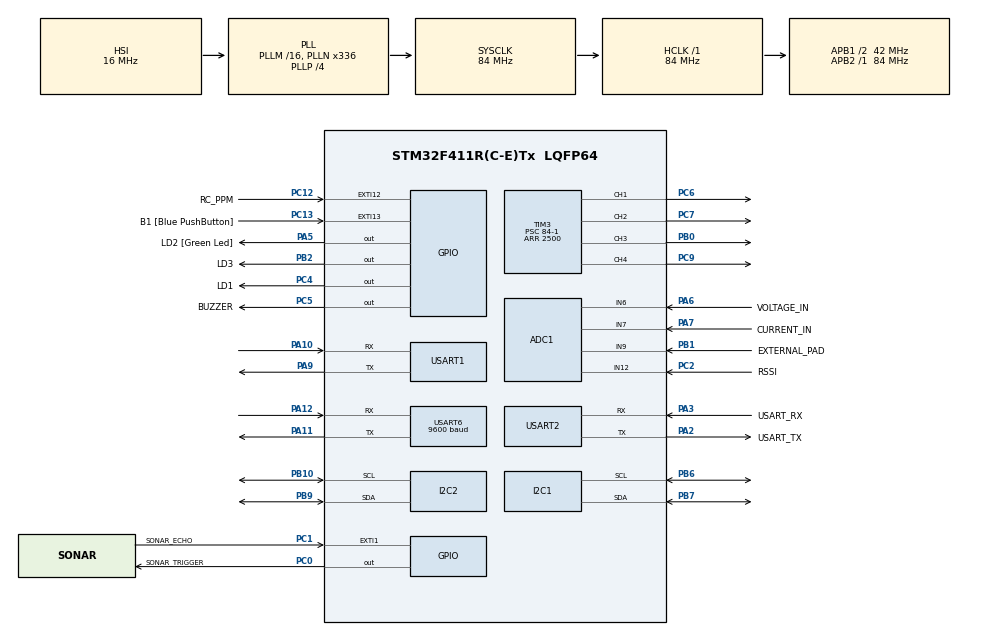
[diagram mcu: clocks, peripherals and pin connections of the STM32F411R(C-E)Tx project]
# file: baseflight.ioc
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ADC1.Channel-11\#ChannelRegularConversion=ADC_CHANNEL_6
ADC1.Channel-12\#ChannelRegularConversion=ADC_CHANNEL_9
ADC1.Channel-13\#ChannelRegularConversion=ADC_CHANNEL_7
ADC1.Channel-14\#ChannelRegularConversion=ADC_CHANNEL_12
ADC1.ContinuousConvMode=ENABLE
ADC1.DMAContinuousRequests=ENABLE
ADC1.NbrOfConversion=4
ADC1.NbrOfConversionFlag=1
ADC1.Rank-11\#ChannelRegularConversion=1
ADC1.Rank-12\#ChannelRegularConversion=2
ADC1.Rank-13\#ChannelRegularConversion=3
ADC1.Rank-14\#ChannelRegularConversion=4
ADC1.SamplingTime-11\#ChannelRegularConversion=ADC_SAMPLETIME_28CYCLES
ADC1.SamplingTime-12\#ChannelRegularConversion=ADC_SAMPLETIME_28CYCLES
ADC1.SamplingTime-13\#ChannelRegularConversion=ADC_SAMPLETIME_28CYCLES
ADC1.SamplingTime-14\#ChannelRegularConversion=ADC_SAMPLETIME_28CYCLES
ADC1.master=1
Dma.ADC1.0.Direction=DMA_PERIPH_TO_MEMORY
Dma.ADC1.0.FIFOMode=DMA_FIFOMODE_DISABLE
Dma.ADC1.0.Instance=DMA2_Stream0
Dma.ADC1.0.MemDataAlignment=DMA_MDATAALIGN_WORD
Dma.ADC1.0.MemInc=DMA_MINC_ENABLE
Dma.ADC1.0.Mode=DMA_CIRCULAR
Dma.ADC1.0.PeriphDataAlignment=DMA_PDATAALIGN_WORD
Dma.ADC1.0.PeriphInc=DMA_PINC_DISABLE
Dma.ADC1.0.Priority=DMA_PRIORITY_LOW
Dma.I2C1_RX.1.Direction=DMA_PERIPH_TO_MEMORY
Dma.I2C1_RX.1.FIFOMode=DMA_FIFOMODE_DISABLE
Dma.I2C1_RX.1.Instance=DMA1_Stream0
Dma.I2C1_RX.1.MemDataAlignment=DMA_MDATAALIGN_BYTE
Dma.I2C1_RX.1.MemInc=DMA_MINC_ENABLE
Dma.I2C1_RX.1.Mode=DMA_NORMAL
Dma.I2C1_RX.1.PeriphDataAlignment=DMA_PDATAALIGN_BYTE
Dma.I2C1_RX.1.PeriphInc=DMA_PINC_DISABLE
Dma.I2C1_RX.1.Priority=DMA_PRIORITY_LOW
Dma.I2C1_TX.2.Direction=DMA_MEMORY_TO_PERIPH
Dma.I2C1_TX.2.FIFOMode=DMA_FIFOMODE_DISABLE
Dma.I2C1_TX.2.Instance=DMA1_Stream1
Dma.I2C1_TX.2.MemDataAlignment=DMA_MDATAALIGN_BYTE
Dma.I2C1_TX.2.MemInc=DMA_MINC_ENABLE
Dma.I2C1_TX.2.Mode=DMA_NORMAL
Dma.I2C1_TX.2.PeriphDataAlignment=DMA_PDATAALIGN_BYTE
Dma.I2C1_TX.2.PeriphInc=DMA_PINC_DISABLE
Dma.I2C1_TX.2.Priority=DMA_PRIORITY_LOW
Dma.Request0=ADC1
Dma.Request1=I2C1_RX
Dma.Request2=I2C1_TX
I2C1.I2C_Mode=I2C_Fast
Mcu.Family=STM32F4
Mcu.Name=STM32F411R(C-E)Tx
Mcu.Package=LQFP64
NVIC.DMA1_Stream0_IRQn=true\:0\:0\:false\:false\:true\:false\:true\:true
NVIC.DMA1_Stream1_IRQn=true\:0\:0\:false\:false\:true\:false\:true\:true
NVIC.DMA2_Stream0_IRQn=true\:0\:0\:false\:false\:true\:false\:true\:true
NVIC.EXTI15_10_IRQn=true\:0\:0\:false\:false\:true\:true\:true\:true
NVIC.EXTI1_IRQn=true\:0\:0\:false\:false\:true\:true\:true\:true
NVIC.I2C1_ER_IRQn=true\:0\:0\:false\:false\:true\:true\:true\:true
NVIC.I2C1_EV_IRQn=true\:0\:0\:false\:false\:true\:true\:true\:true
NVIC.PriorityGroup=NVIC_PRIORITYGROUP_0
NVIC.TIM3_IRQn=true\:0\:0\:false\:false\:true\:true\:true\:true
NVIC.USART1_IRQn=true\:0\:0\:false\:false\:true\:true\:true\:true
NVIC.USART2_IRQn=true\:0\:0\:false\:false\:true\:true\:true\:true
NVIC.USART6_IRQn=true\:0\:0\:false\:false\:true\:true\:true\:true
PA10.Mode=Asynchronous
PA10.Signal=USART1_RX
PA11.Mode=Asynchronous
PA11.Signal=USART6_TX
PA12.Mode=Asynchronous
PA12.Signal=USART6_RX
PA13.GPIO_Label=TMS
PA13.Mode=Serial_Wire
PA13.Signal=SYS_JTMS-SWDIO
PA14.GPIO_Label=TCK
PA14.Mode=Serial_Wire
PA14.Signal=SYS_JTCK-SWCLK
PA2.GPIO_Label=USART_TX
PA2.Mode=Asynchronous
PA2.Signal=USART2_TX
PA3.GPIO_Label=USART_RX
PA3.Mode=Asynchronous
PA3.Signal=USART2_RX
PA5.GPIO_Label=LD2 [Green Led]
PA5.Signal=GPIO_Output
PA6.GPIO_Label=VOLTAGE_IN
PA6.Signal=ADCx_IN6
PA7.GPIO_Label=CURRENT_IN
PA7.Signal=ADCx_IN7
PA9.Mode=Asynchronous
PA9.Signal=USART1_TX
PB0.Signal=S_TIM3_CH3
PB1.GPIO_Label=EXTERNAL_PAD
PB1.Signal=ADCx_IN9
PB10.Mode=I2C
PB10.Signal=I2C2_SCL
PB2.GPIO_Label=LD3
PB2.Signal=GPIO_Output
PB3.GPIO_Label=SWO
PB3.Signal=SYS_JTDO-SWO
PB6.Mode=I2C
PB6.Signal=I2C1_SCL
PB7.Mode=I2C
PB7.Signal=I2C1_SDA
PB9.Mode=I2C
PB9.Signal=I2C2_SDA
PC0.GPIO_Label=SONAR_TRIGGER
PC0.Signal=GPIO_Output
PC1.GPIO_Label=SONAR_ECHO
PC1.GPIO_ModeDefaultEXTI=GPIO_MODE_IT_RISING_FALLING
PC1.Signal=GPXTI1
PC12.GPIO_Label=RC_PPM
PC12.Signal=GPXTI12
PC13-ANTI_TAMP.GPIO_Label=B1 [Blue PushButton]
PC13-ANTI_TAMP.GPIO_ModeDefaultEXTI=GPIO_MODE_IT_FALLING
PC13-ANTI_TAMP.Signal=GPXTI13
PC14-OSC32_IN.Mode=LSE-External-Oscillator
PC14-OSC32_IN.Signal=RCC_OSC32_IN
PC15-OSC32_OUT.Mode=LSE-External-Oscillator
PC15-OSC32_OUT.Signal=RCC_OSC32_OUT
PC2.GPIO_Label=RSSI
PC2.Signal=ADCx_IN12
PC4.GPIO_Label=LD1
PC4.Signal=GPIO_Output
PC5.GPIO_Label=BUZZER
PC5.Signal=GPIO_Output
PC6.Signal=S_TIM3_CH1
PC7.Signal=S_TIM3_CH2
PC9.Signal=S_TIM3_CH4
PH0\ -\ OSC_IN.Mode=HSE-External-Clock-Source
PH0\ -\ OSC_IN.Signal=RCC_OSC_IN
PH1\ -\ OSC_OUT.Mode=HSE-External-Clock-Source
PH1\ -\ OSC_OUT.Signal=RCC_OSC_OUT
ProjectManager.HeapSize=0x200
ProjectManager.StackSize=0x400
ProjectManager.TargetToolchain=STM32CubeIDE
RCC.48MHZClocksFreq_Value=84000000
RCC.AHBFreq_Value=84000000
RCC.APB1CLKDivider=RCC_HCLK_DIV2
RCC.APB1Freq_Value=42000000
RCC.APB1TimFreq_Value=84000000
RCC.APB2Freq_Value=84000000
RCC.APB2TimFreq_Value=84000000
RCC.CortexFreq_Value=84000000
RCC.FLatency-AdvancedSettings=FLASH_LATENCY_2
RCC.HCLKFreq_Value=84000000
RCC.HSE_VALUE=8000000
RCC.HSICalibrationValue=13
RCC.HSI_VALUE=16000000
RCC.PLLN=336
RCC.PLLP=RCC_PLLP_DIV4
RCC.SYSCLKFreq_VALUE=84000000
RCC.SYSCLKSource=RCC_SYSCLKSOURCE_PLLCLK
RCC.VCOOutputFreq_Value=336000000
SH.ADCx_IN12.0=ADC1_IN12,IN12
SH.ADCx_IN6.0=ADC1_IN6,IN6
SH.ADCx_IN7.0=ADC1_IN7,IN7
SH.ADCx_IN9.0=ADC1_IN9,IN9
SH.S_TIM3_CH1.0=TIM3_CH1,PWM Generation1 CH1
SH.S_TIM3_CH2.0=TIM3_CH2,PWM Generation2 CH2
SH.S_TIM3_CH3.0=TIM3_CH3,PWM Generation3 CH3
SH.S_TIM3_CH4.0=TIM3_CH4,PWM Generation4 CH4
TIM2.Prescaler=84-1
TIM3.Channel-PWM\ Generation1\ CH1=TIM_CHANNEL_1
TIM3.Channel-PWM\ Generation2\ CH2=TIM_CHANNEL_2
TIM3.Channel-PWM\ Generation3\ CH3=TIM_CHANNEL_3
TIM3.Channel-PWM\ Generation4\ CH4=TIM_CHANNEL_4
TIM3.Period=2500
TIM3.Prescaler=84-1
TIM3.Pulse-PWM\ Generation1\ CH1=1000
TIM3.Pulse-PWM\ Generation2\ CH2=1000
TIM3.Pulse-PWM\ Generation4\ CH4=1000
USART1.VirtualMode=VM_ASYNC
USART2.VirtualMode=VM_ASYNC
USART6.BaudRate=9600
USART6.VirtualMode=VM_ASYNC
VP_TIM2_VS_ClockSourceINT.Mode=Internal
VP_TIM3_VS_ClockSourceINT.Mode=Internal
board=NUCLEO-F411RE

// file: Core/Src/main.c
/* USER CODE BEGIN Header */
/**
  ******************************************************************************
  * @file           : main.c
  * @brief          : Main program body
  ******************************************************************************
  * @attention
  *
  * Copyright (c) 2022 STMicroelectronics.
  * All rights reserved.
  *
  * This software is licensed under terms that can be found in the LICENSE file
  * in the root directory of this software component.
  * If no LICENSE file comes with this software, it is provided AS-IS.
  *
  ******************************************************************************
  */
/* USER CODE END Header */
#include "main.h"

/* USER CODE BEGIN Includes */
#include "board.h"
#include "buzzer.h"
#include "mw.h"

#include "drv_adc.h"
#include "drv_gy86.h"
#include "drv_hcsr04.h"
#include "drv_i2c.h"
#include "drv_pwm.h"
#include "drv_system.h"
#include "drv_uart.h"

#ifndef __PIF_NO_LOG__
	#include "core/pif_log.h"
#endif
/* USER CODE END Includes */

ADC_HandleTypeDef hadc1;
DMA_HandleTypeDef hdma_adc1;

I2C_HandleTypeDef hi2c1;
I2C_HandleTypeDef hi2c2;
DMA_HandleTypeDef hdma_i2c1_rx;
DMA_HandleTypeDef hdma_i2c1_tx;

TIM_HandleTypeDef htim2;
TIM_HandleTypeDef htim3;

UART_HandleTypeDef huart1;
UART_HandleTypeDef huart2;
UART_HandleTypeDef huart6;

/* USER CODE BEGIN PV */
const char g_board_name[] = "Nucleo-F411RE";

core_t core;
int hw_revision = 0;

static sensorDetect_t gyro_detect[] = { { (sensorDetectFuncPtr)gy86Detect, NULL }, { NULL, NULL } };
static sensorDetect_t* acc_detect = NULL;
static sensorDetect_t* baro_detect = NULL;
static sensorDetect_t* mag_detect = NULL;
/* USER CODE END PV */

void SystemClock_Config(void);
static void MX_GPIO_Init(void);
static void MX_DMA_Init(void);
static void MX_USART2_UART_Init(void);
static void MX_I2C1_Init(void);
static void MX_TIM3_Init(void);
static void MX_USART1_UART_Init(void);
static void MX_USART6_UART_Init(void);
static void MX_ADC1_Init(void);
static void MX_TIM2_Init(void);
static void MX_I2C2_Init(void);

/* USER CODE BEGIN 0 */
uint32_t micros()
{
	return htim2.Instance->CNT;
}

static void featureDefault(void)
{
    featureSet(FEATURE_VBAT);
}

#ifndef __PIF_NO_LOG__

void actTaskSignal(BOOL state)
{
	HAL_GPIO_WritePin(LD2_GPIO_Port, LD2_Pin, state);
}

#endif

/* USER CODE END 0 */

int main(void)
{
  /* USER CODE BEGIN 1 */
    uint8_t i;
#ifndef __PIF_NO_LOG__
    int line;
	#define FAIL { line = __LINE__; goto fail; }
#else
	#define FAIL { goto fail; }
#endif
    drv_pwm_config_t pwm_params;
    drv_adc_config_t adc_params;
    bool sensorsOK = false;
    PifTask* p_task;
  /* USER CODE END 1 */

  /* MCU Configuration--------------------------------------------------------*/

  /* Reset of all peripherals, Initializes the Flash interface and the Systick. */
  HAL_Init();

  /* Configure the system clock */
  SystemClock_Config();

  /* Initialize all configured peripherals */
  MX_GPIO_Init();
  MX_DMA_Init();
  MX_USART2_UART_Init();
  MX_I2C1_Init();
  MX_TIM3_Init();
  MX_USART1_UART_Init();
  MX_USART6_UART_Init();
  MX_ADC1_Init();
  MX_TIM2_Init();
  MX_I2C2_Init();
  /* USER CODE BEGIN 2 */

  HAL_TIM_IC_Start_IT(&htim2, TIM_CHANNEL_1);

    pif_Init(micros);

    if (!pifTaskManager_Init(20)) FAIL;

#ifdef __PIF_DEBUG__
    pif_act_task_signal = actTaskSignal;
#endif

#ifndef __PIF_NO_LOG__
    logOpen();
#endif

    if (!pifTimerManager_Init(&g_timer_1ms, PIF_ID_AUTO, 1000, 3)) FAIL;		        // 1000us

#ifndef __PIF_NO_LOG__
    pifLog_Printf(LT_INFO, "Start Baseflight: %d\n", sizeof(master_t));
#endif

    if (!buzzerInit()) FAIL;

    // make sure (at compile time) that config struct doesn't overflow allocated flash pages
    ct_assert(sizeof(mcfg) < STORAGE_VOLUME);

    g_featureDefault = featureDefault;

    if (!i2cInit()) FAIL;

    if (!initEEPROM(storageInit())) FAIL;
    if (!checkFirstTime(false)) FAIL;
    readEEPROM();

    systemInit();

    // sleep for 100ms
    pif_Delay1ms(100);

    activateConfig();

    // configure rssi ADC
    if (mcfg.rssi_adc_channel > 0 && (mcfg.rssi_adc_channel == 1 || mcfg.rssi_adc_channel == 9 || mcfg.rssi_adc_channel == 5) && mcfg.rssi_adc_channel != mcfg.power_adc_channel)
        adc_params.rssiAdcChannel = mcfg.rssi_adc_channel;
    else {
        adc_params.rssiAdcChannel = 0;
        mcfg.rssi_adc_channel = 0;
    }

    adcInit(&adc_params);
    // Check battery type/voltage
    if (feature(FEATURE_VBAT))
        batteryInit();
    initBoardAlignment();

    // drop out any sensors that don't seem to work, init all the others. halt if gyro is dead.
    sensorsOK = sensorsAutodetect(gyro_detect, acc_detect, baro_detect, mag_detect);
#ifndef __PIF_NO_LOG__
    pifLog_Printf(LT_INFO, "Sensor: %lxh(%d)", sensorsMask(), sensorsOK);
#endif

    // if gyro was not detected due to whatever reason, we give up now.
    if (!sensorsOK)
        failureMode(3);

    actLed1State(ON);
    actLed0State(OFF);
    for (i = 0; i < 10; i++) {
        actLed1Toggle();
        actLed0Toggle();
        pifTaskManager_YieldMs(25);
        actBuzzerAction(PIF_ID_BUZZER, ON);
        pifTaskManager_YieldMs(25);
        actBuzzerAction(PIF_ID_BUZZER, OFF);
    }
    actLed0State(OFF);
    actLed1State(OFF);

    imuInit(); // Mag is initialized inside imuInit
    mixerInit(); // this will set core.useServo var depending on mixer type

#ifndef __PIF_NO_LOG__
    pifLog_Printf(LT_INFO, "Serial: %lu", mcfg.serial_baudrate);
    serialInit(UART_PORT_1, mcfg.serial_baudrate, UART_PORT_NONE);
#else
    serialInit(UART_PORT_1, mcfg.serial_baudrate, feature(FEATURE_SERIALRX) ? UART_PORT_NONE : UART_PORT_2);
#endif

    g_task_compute_rc = pifTaskManager_Add(TM_EXTERNAL_ORDER, 0, taskComputeRc, NULL, FALSE);
    if (!g_task_compute_rc) FAIL;
    g_task_compute_rc->name = "RC";

    // when using airplane/wing mixer, servo/motor outputs are remapped
    if (mcfg.mixerConfiguration == MULTITYPE_AIRPLANE || mcfg.mixerConfiguration == MULTITYPE_FLYING_WING || mcfg.mixerConfiguration == MULTITYPE_CUSTOM_PLANE)
        pwm_params.airplane = true;
    else
        pwm_params.airplane = false;
    pwm_params.useUART = feature(FEATURE_GPS) || feature(FEATURE_SERIALRX); // spektrum/sbus support uses UART too
    pwm_params.useSoftSerial = false;
    pwm_params.usePPM = feature(FEATURE_PPM);
    pwm_params.enableInput = !feature(FEATURE_SERIALRX); // disable inputs if using spektrum
    pwm_params.useServos = core.useServo;
    pwm_params.extraServos = cfg.gimbal_flags & GIMBAL_FORWARDAUX;
    pwm_params.motorPwmRate = mcfg.motor_pwm_rate;
    pwm_params.servoPwmRate = mcfg.servo_pwm_rate;
    pwm_params.pwmFilter = mcfg.pwm_filter;
    pwm_params.idlePulse = PULSE_1MS; // standard PWM for brushless ESC (default, overridden below)
    if (feature(FEATURE_3D))
        pwm_params.idlePulse = mcfg.neutral3d;
    if (pwm_params.motorPwmRate > 500)
        pwm_params.idlePulse = 0; // brushed motors
    pwm_params.syncPWM = feature(FEATURE_SYNCPWM);
    pwm_params.fastPWM = feature(FEATURE_FASTPWM);
    pwm_params.servoCenterPulse = mcfg.midrc;
    pwm_params.failsafeThreshold = cfg.failsafe_detect_threshold;
    switch (mcfg.power_adc_channel) {
        case 1:
            pwm_params.adcChannel = PWM2;
            break;
        case 9:
            pwm_params.adcChannel = PWM8;
            break;
        default:
            pwm_params.adcChannel = 0;
            break;
    }

    pwmInit(&pwm_params);
    core.numServos = pwm_params.numServos;

    // configure PWM/CPPM read function and max number of channels. spektrum or sbus below will override both of these, if enabled
    for (i = 0; i < RC_CHANS; i++)
        rcData[i] = 1502;
    rcReadRawFunc = pwmReadRawRC;

#ifdef __PIF_NO_LOG__
    if (feature(FEATURE_SERIALRX)) {
        switch (mcfg.serialrx_type) {
            case SERIALRX_SPEKTRUM1024:
            case SERIALRX_SPEKTRUM2048:
                spektrumInit(UART_PORT_2, &rcReadRawFunc);
                break;
            case SERIALRX_SBUS:
                // Configure hardware inverter on PB2. If not available, this has no effect.
                actInvState(ON);
                sbusInit(UART_PORT_2, &rcReadRawFunc);
                break;
            case SERIALRX_SUMD:
                sumdInit(UART_PORT_2, &rcReadRawFunc);
                break;
            case SERIALRX_MSP:
                mspInit(&rcReadRawFunc);
                break;
            case SERIALRX_IBUS:
                ibusInit(UART_PORT_2, &rcReadRawFunc);
                break;
        }
    }
#endif

    // Optional GPS - available in both PPM, PWM and serialRX input mode, in PWM input, reduces number of available channels by 2.
    // gpsInit will return if FEATURE_GPS is not enabled.
    if (feature(FEATURE_GPS)) {
        gpsInit(UART_PORT_3, mcfg.gps_baudrate);
    }

#ifdef SONAR
    // sonar stuff only works with PPM
    if (feature(FEATURE_SONAR)) {
//      Sonar_init(hcsr04Init, SF_NONE);
//      Sonar_init(hcsr04Init, SF_AVERAGE);
        Sonar_init(hcsr04Init, SF_NOISE_CANCEL);
    }
#endif

    core.numAuxChannels = constrain((mcfg.rc_channel_count - 4), 4, 8);

#ifdef TELEMETRY
    if (feature(FEATURE_TELEMETRY))
        initTelemetry();
#endif

    if (mcfg.mixerConfiguration == MULTITYPE_GIMBAL)
        calibratingA = CALIBRATING_ACC_CYCLES;
    calibratingG = CALIBRATING_GYRO_CYCLES;
    calibratingB = CALIBRATING_BARO_CYCLES;             // 10 seconds init_delay + 200 * 25 ms = 15 seconds before ground pressure settles
    f.SMALL_ANGLE = 1;

    p_task = pifTaskManager_Add(TM_PERIOD_MS, 10, taskLoop, NULL, TRUE);         								// 1ms
    if (!p_task) FAIL;
    p_task->name = "Loop";

    if (mcfg.looptime) {
    	g_task_compute_imu = pifTaskManager_Add(TM_PERIOD_US, mcfg.looptime, taskComputeImu, NULL, TRUE);
    }
    else {
    	g_task_compute_imu = pifTaskManager_Add(TM_ALWAYS, 0, taskComputeImu, NULL, TRUE);
    }
    if (!g_task_compute_imu) FAIL;
    g_task_compute_imu->name = "IMU";
    g_task_compute_imu->disallow_yield_id = DISALLOW_YIELD_ID_I2C;

#ifdef MAG
    if (sensors(SENSOR_MAG)) {
        sensor_set.mag.p_task = pifTaskManager_Add(TM_PERIOD_MS, 100, taskMagGetAdc, NULL, TRUE);             // 100ms
        if (!sensor_set.mag.p_task) FAIL;
        sensor_set.mag.p_task->name = "Mag";
        sensor_set.mag.p_task->disallow_yield_id = DISALLOW_YIELD_ID_I2C;
    }
#endif

#ifdef BARO
    if (sensors(SENSOR_BARO)) {
        sensor_set.baro.p_task = pifTaskManager_Add(TM_EXTERNAL_ORDER, 0, taskGetEstimatedAltitude, NULL, FALSE);
        if (!sensor_set.baro.p_task) FAIL;
        sensor_set.baro.p_task->name = "Baro";
    }
#endif

#ifdef GPS
    g_task_gps = pifTaskManager_Add(TM_EXTERNAL_ORDER, 0, taskGpsNewData, NULL, FALSE);
    if (!g_task_gps) FAIL;
    g_task_gps->name = "GPS";
#endif

    p_task = pifTaskManager_Add(TM_PERIOD_MS, 50, taskLedState, NULL, TRUE);									// 50ms
    if (!p_task) FAIL;
    p_task->name = "Loop";

#ifndef __PIF_NO_LOG__
	pifLog_Printf(LT_INFO, "Task=%d Timer1ms=%d\n", pifTaskManager_Count(),
			pifTimerManager_Count(&g_timer_1ms));
#endif
  /* USER CODE END 2 */

  /* Infinite loop */
  /* USER CODE BEGIN WHILE */
  while (1)
  {
	  pifTaskManager_Loop();
    /* USER CODE END WHILE */

    /* USER CODE BEGIN 3 */
  }
  return 0;

fail:
#ifndef __PIF_NO_LOG__
	pifLog_Printf(LT_ERROR, "Error=%Xh Line=%u", pif_error, line);
	pifLog_SendAndExit();
#endif
  return -1;
  /* USER CODE END 3 */
}

void SystemClock_Config(void)
{
  RCC_OscInitTypeDef RCC_OscInitStruct = {0};
  RCC_ClkInitTypeDef RCC_ClkInitStruct = {0};

  /** Configure the main internal regulator output voltage
  */
  __HAL_RCC_PWR_CLK_ENABLE();
  __HAL_PWR_VOLTAGESCALING_CONFIG(PWR_REGULATOR_VOLTAGE_SCALE1);

  /** Initializes the RCC Oscillators according to the specified parameters
  * in the RCC_OscInitTypeDef structure.
  */
  RCC_OscInitStruct.OscillatorType = RCC_OSCILLATORTYPE_HSI;
  RCC_OscInitStruct.HSIState = RCC_HSI_ON;
  RCC_OscInitStruct.HSICalibrationValue = 13;
  RCC_OscInitStruct.PLL.PLLState = RCC_PLL_ON;
  RCC_OscInitStruct.PLL.PLLSource = RCC_PLLSOURCE_HSI;
  RCC_OscInitStruct.PLL.PLLM = 16;
  RCC_OscInitStruct.PLL.PLLN = 336;
  RCC_OscInitStruct.PLL.PLLP = RCC_PLLP_DIV4;
  RCC_OscInitStruct.PLL.PLLQ = 4;
  if (HAL_RCC_OscConfig(&RCC_OscInitStruct) != HAL_OK)
  {
    Error_Handler();
  }

  /** Initializes the CPU, AHB and APB buses clocks
  */
  RCC_ClkInitStruct.ClockType = RCC_CLOCKTYPE_HCLK|RCC_CLOCKTYPE_SYSCLK
                              |RCC_CLOCKTYPE_PCLK1|RCC_CLOCKTYPE_PCLK2;
  RCC_ClkInitStruct.SYSCLKSource = RCC_SYSCLKSOURCE_PLLCLK;
  RCC_ClkInitStruct.AHBCLKDivider = RCC_SYSCLK_DIV1;
  RCC_ClkInitStruct.APB1CLKDivider = RCC_HCLK_DIV2;
  RCC_ClkInitStruct.APB2CLKDivider = RCC_HCLK_DIV1;

  if (HAL_RCC_ClockConfig(&RCC_ClkInitStruct, FLASH_LATENCY_2) != HAL_OK)
  {
    Error_Handler();
  }
}

static void MX_ADC1_Init(void)
{

  ADC_ChannelConfTypeDef sConfig = {0};

  /** Configure the global features of the ADC (Clock, Resolution, Data Alignment and number of conversion)
  */
  hadc1.Instance = ADC1;
  hadc1.Init.ClockPrescaler = ADC_CLOCK_SYNC_PCLK_DIV4;
  hadc1.Init.Resolution = ADC_RESOLUTION_12B;
  hadc1.Init.ScanConvMode = ENABLE;
  hadc1.Init.ContinuousConvMode = ENABLE;
  hadc1.Init.DiscontinuousConvMode = DISABLE;
  hadc1.Init.ExternalTrigConvEdge = ADC_EXTERNALTRIGCONVEDGE_NONE;
  hadc1.Init.ExternalTrigConv = ADC_SOFTWARE_START;
  hadc1.Init.DataAlign = ADC_DATAALIGN_RIGHT;
  hadc1.Init.NbrOfConversion = 4;
  hadc1.Init.DMAContinuousRequests = ENABLE;
  hadc1.Init.EOCSelection = ADC_EOC_SINGLE_CONV;
  if (HAL_ADC_Init(&hadc1) != HAL_OK)
  {
    Error_Handler();
  }

  /** Configure for the selected ADC regular channel its corresponding rank in the sequencer and its sample time.
  */
  sConfig.Channel = ADC_CHANNEL_6;
  sConfig.Rank = 1;
  sConfig.SamplingTime = ADC_SAMPLETIME_28CYCLES;
  if (HAL_ADC_ConfigChannel(&hadc1, &sConfig) != HAL_OK)
  {
    Error_Handler();
  }

  /** Configure for the selected ADC regular channel its corresponding rank in the sequencer and its sample time.
  */
  sConfig.Channel = ADC_CHANNEL_9;
  sConfig.Rank = 2;
  if (HAL_ADC_ConfigChannel(&hadc1, &sConfig) != HAL_OK)
  {
    Error_Handler();
  }

  /** Configure for the selected ADC regular channel its corresponding rank in the sequencer and its sample time.
  */
  sConfig.Channel = ADC_CHANNEL_7;
  sConfig.Rank = 3;
  if (HAL_ADC_ConfigChannel(&hadc1, &sConfig) != HAL_OK)
  {
    Error_Handler();
  }

  /** Configure for the selected ADC regular channel its corresponding rank in the sequencer and its sample time.
  */
  sConfig.Channel = ADC_CHANNEL_12;
  sConfig.Rank = 4;
  if (HAL_ADC_ConfigChannel(&hadc1, &sConfig) != HAL_OK)
  {
    Error_Handler();
  }

}

static void MX_I2C1_Init(void)
{

  hi2c1.Instance = I2C1;
  hi2c1.Init.ClockSpeed = 400000;
  hi2c1.Init.DutyCycle = I2C_DUTYCYCLE_2;
  hi2c1.Init.OwnAddress1 = 0;
  hi2c1.Init.AddressingMode = I2C_ADDRESSINGMODE_7BIT;
  hi2c1.Init.DualAddressMode = I2C_DUALADDRESS_DISABLE;
  hi2c1.Init.OwnAddress2 = 0;
  hi2c1.Init.GeneralCallMode = I2C_GENERALCALL_DISABLE;
  hi2c1.Init.NoStretchMode = I2C_NOSTRETCH_DISABLE;
  if (HAL_I2C_Init(&hi2c1) != HAL_OK)
  {
    Error_Handler();
  }

}

static void MX_I2C2_Init(void)
{

  hi2c2.Instance = I2C2;
  hi2c2.Init.ClockSpeed = 100000;
  hi2c2.Init.DutyCycle = I2C_DUTYCYCLE_2;
  hi2c2.Init.OwnAddress1 = 0;
  hi2c2.Init.AddressingMode = I2C_ADDRESSINGMODE_7BIT;
  hi2c2.Init.DualAddressMode = I2C_DUALADDRESS_DISABLE;
  hi2c2.Init.OwnAddress2 = 0;
  hi2c2.Init.GeneralCallMode = I2C_GENERALCALL_DISABLE;
  hi2c2.Init.NoStretchMode = I2C_NOSTRETCH_DISABLE;
  if (HAL_I2C_Init(&hi2c2) != HAL_OK)
  {
    Error_Handler();
  }

}

static void MX_TIM2_Init(void)
{

  TIM_ClockConfigTypeDef sClockSourceConfig = {0};
  TIM_MasterConfigTypeDef sMasterConfig = {0};

  htim2.Instance = TIM2;
  htim2.Init.Prescaler = 84-1;
  htim2.Init.CounterMode = TIM_COUNTERMODE_UP;
  htim2.Init.Period = 4294967295;
  htim2.Init.ClockDivision = TIM_CLOCKDIVISION_DIV1;
  htim2.Init.AutoReloadPreload = TIM_AUTORELOAD_PRELOAD_DISABLE;
  if (HAL_TIM_Base_Init(&htim2) != HAL_OK)
  {
    Error_Handler();
  }
  sClockSourceConfig.ClockSource = TIM_CLOCKSOURCE_INTERNAL;
  if (HAL_TIM_ConfigClockSource(&htim2, &sClockSourceConfig) != HAL_OK)
  {
    Error_Handler();
  }
  sMasterConfig.MasterOutputTrigger = TIM_TRGO_RESET;
  sMasterConfig.MasterSlaveMode = TIM_MASTERSLAVEMODE_DISABLE;
  if (HAL_TIMEx_MasterConfigSynchronization(&htim2, &sMasterConfig) != HAL_OK)
  {
    Error_Handler();
  }

}

static void MX_TIM3_Init(void)
{

  TIM_ClockConfigTypeDef sClockSourceConfig = {0};
  TIM_MasterConfigTypeDef sMasterConfig = {0};
  TIM_OC_InitTypeDef sConfigOC = {0};

  htim3.Instance = TIM3;
  htim3.Init.Prescaler = 84-1;
  htim3.Init.CounterMode = TIM_COUNTERMODE_UP;
  htim3.Init.Period = 2500;
  htim3.Init.ClockDivision = TIM_CLOCKDIVISION_DIV1;
  htim3.Init.AutoReloadPreload = TIM_AUTORELOAD_PRELOAD_DISABLE;
  if (HAL_TIM_Base_Init(&htim3) != HAL_OK)
  {
    Error_Handler();
  }
  sClockSourceConfig.ClockSource = TIM_CLOCKSOURCE_INTERNAL;
  if (HAL_TIM_ConfigClockSource(&htim3, &sClockSourceConfig) != HAL_OK)
  {
    Error_Handler();
  }
  if (HAL_TIM_PWM_Init(&htim3) != HAL_OK)
  {
    Error_Handler();
  }
  sMasterConfig.MasterOutputTrigger = TIM_TRGO_RESET;
  sMasterConfig.MasterSlaveMode = TIM_MASTERSLAVEMODE_DISABLE;
  if (HAL_TIMEx_MasterConfigSynchronization(&htim3, &sMasterConfig) != HAL_OK)
  {
    Error_Handler();
  }
  sConfigOC.OCMode = TIM_OCMODE_PWM1;
  sConfigOC.Pulse = 1000;
  sConfigOC.OCPolarity = TIM_OCPOLARITY_HIGH;
  sConfigOC.OCFastMode = TIM_OCFAST_DISABLE;
  if (HAL_TIM_PWM_ConfigChannel(&htim3, &sConfigOC, TIM_CHANNEL_1) != HAL_OK)
  {
    Error_Handler();
  }
  if (HAL_TIM_PWM_ConfigChannel(&htim3, &sConfigOC, TIM_CHANNEL_2) != HAL_OK)
  {
    Error_Handler();
  }
  sConfigOC.Pulse = 0;
  if (HAL_TIM_PWM_ConfigChannel(&htim3, &sConfigOC, TIM_CHANNEL_3) != HAL_OK)
  {
    Error_Handler();
  }
  sConfigOC.Pulse = 1000;
  if (HAL_TIM_PWM_ConfigChannel(&htim3, &sConfigOC, TIM_CHANNEL_4) != HAL_OK)
  {
    Error_Handler();
  }
  HAL_TIM_MspPostInit(&htim3);

}

static void MX_USART1_UART_Init(void)
{

  huart1.Instance = USART1;
  huart1.Init.BaudRate = 115200;
  huart1.Init.WordLength = UART_WORDLENGTH_8B;
  huart1.Init.StopBits = UART_STOPBITS_1;
  huart1.Init.Parity = UART_PARITY_NONE;
  huart1.Init.Mode = UART_MODE_TX_RX;
  huart1.Init.HwFlowCtl = UART_HWCONTROL_NONE;
  huart1.Init.OverSampling = UART_OVERSAMPLING_16;
  if (HAL_UART_Init(&huart1) != HAL_OK)
  {
    Error_Handler();
  }

}

static void MX_USART2_UART_Init(void)
{

  huart2.Instance = USART2;
  huart2.Init.BaudRate = 115200;
  huart2.Init.WordLength = UART_WORDLENGTH_8B;
  huart2.Init.StopBits = UART_STOPBITS_1;
  huart2.Init.Parity = UART_PARITY_NONE;
  huart2.Init.Mode = UART_MODE_TX_RX;
  huart2.Init.HwFlowCtl = UART_HWCONTROL_NONE;
  huart2.Init.OverSampling = UART_OVERSAMPLING_16;
  if (HAL_UART_Init(&huart2) != HAL_OK)
  {
    Error_Handler();
  }

}

static void MX_USART6_UART_Init(void)
{

  huart6.Instance = USART6;
  huart6.Init.BaudRate = 9600;
  huart6.Init.WordLength = UART_WORDLENGTH_8B;
  huart6.Init.StopBits = UART_STOPBITS_1;
  huart6.Init.Parity = UART_PARITY_NONE;
  huart6.Init.Mode = UART_MODE_TX_RX;
  huart6.Init.HwFlowCtl = UART_HWCONTROL_NONE;
  huart6.Init.OverSampling = UART_OVERSAMPLING_16;
  if (HAL_UART_Init(&huart6) != HAL_OK)
  {
    Error_Handler();
  }

}

static void MX_DMA_Init(void)
{

  /* DMA controller clock enable */
  __HAL_RCC_DMA2_CLK_ENABLE();
  __HAL_RCC_DMA1_CLK_ENABLE();

  /* DMA interrupt init */
  /* DMA1_Stream0_IRQn interrupt configuration */
  HAL_NVIC_SetPriority(DMA1_Stream0_IRQn, 0, 0);
  HAL_NVIC_EnableIRQ(DMA1_Stream0_IRQn);
  /* DMA1_Stream1_IRQn interrupt configuration */
  HAL_NVIC_SetPriority(DMA1_Stream1_IRQn, 0, 0);
  HAL_NVIC_EnableIRQ(DMA1_Stream1_IRQn);
  /* DMA2_Stream0_IRQn interrupt configuration */
  HAL_NVIC_SetPriority(DMA2_Stream0_IRQn, 0, 0);
  HAL_NVIC_EnableIRQ(DMA2_Stream0_IRQn);

}

static void MX_GPIO_Init(void)
{
  GPIO_InitTypeDef GPIO_InitStruct = {0};

  /* GPIO Ports Clock Enable */
  __HAL_RCC_GPIOC_CLK_ENABLE();
  __HAL_RCC_GPIOH_CLK_ENABLE();
  __HAL_RCC_GPIOA_CLK_ENABLE();
  __HAL_RCC_GPIOB_CLK_ENABLE();

  /*Configure GPIO pin Output Level */
  HAL_GPIO_WritePin(GPIOC, SONAR_TRIGGER_Pin|LD1_Pin|BUZZER_Pin, GPIO_PIN_RESET);

  /*Configure GPIO pin Output Level */
  HAL_GPIO_WritePin(LD2_GPIO_Port, LD2_Pin, GPIO_PIN_RESET);

  /*Configure GPIO pin Output Level */
  HAL_GPIO_WritePin(LD3_GPIO_Port, LD3_Pin, GPIO_PIN_RESET);

  /*Configure GPIO pin : B1_Pin */
  GPIO_InitStruct.Pin = B1_Pin;
  GPIO_InitStruct.Mode = GPIO_MODE_IT_FALLING;
  GPIO_InitStruct.Pull = GPIO_NOPULL;
  HAL_GPIO_Init(B1_GPIO_Port, &GPIO_InitStruct);

  /*Configure GPIO pins : SONAR_TRIGGER_Pin LD1_Pin BUZZER_Pin */
  GPIO_InitStruct.Pin = SONAR_TRIGGER_Pin|LD1_Pin|BUZZER_Pin;
  GPIO_InitStruct.Mode = GPIO_MODE_OUTPUT_PP;
  GPIO_InitStruct.Pull = GPIO_NOPULL;
  GPIO_InitStruct.Speed = GPIO_SPEED_FREQ_LOW;
  HAL_GPIO_Init(GPIOC, &GPIO_InitStruct);

  /*Configure GPIO pin : SONAR_ECHO_Pin */
  GPIO_InitStruct.Pin = SONAR_ECHO_Pin;
  GPIO_InitStruct.Mode = GPIO_MODE_IT_RISING_FALLING;
  GPIO_InitStruct.Pull = GPIO_NOPULL;
  HAL_GPIO_Init(SONAR_ECHO_GPIO_Port, &GPIO_InitStruct);

  /*Configure GPIO pin : LD2_Pin */
  GPIO_InitStruct.Pin = LD2_Pin;
  GPIO_InitStruct.Mode = GPIO_MODE_OUTPUT_PP;
  GPIO_InitStruct.Pull = GPIO_NOPULL;
  GPIO_InitStruct.Speed = GPIO_SPEED_FREQ_LOW;
  HAL_GPIO_Init(LD2_GPIO_Port, &GPIO_InitStruct);

  /*Configure GPIO pin : LD3_Pin */
  GPIO_InitStruct.Pin = LD3_Pin;
  GPIO_InitStruct.Mode = GPIO_MODE_OUTPUT_PP;
  GPIO_InitStruct.Pull = GPIO_NOPULL;
  GPIO_InitStruct.Speed = GPIO_SPEED_FREQ_LOW;
  HAL_GPIO_Init(LD3_GPIO_Port, &GPIO_InitStruct);

  /*Configure GPIO pin : RC_PPM_Pin */
  GPIO_InitStruct.Pin = RC_PPM_Pin;
  GPIO_InitStruct.Mode = GPIO_MODE_IT_RISING;
  GPIO_InitStruct.Pull = GPIO_NOPULL;
  HAL_GPIO_Init(RC_PPM_GPIO_Port, &GPIO_InitStruct);

  /* EXTI interrupt init*/
  HAL_NVIC_SetPriority(EXTI1_IRQn, 0, 0);
  HAL_NVIC_EnableIRQ(EXTI1_IRQn);

  HAL_NVIC_SetPriority(EXTI15_10_IRQn, 0, 0);
  HAL_NVIC_EnableIRQ(EXTI15_10_IRQn);

}

void Error_Handler(void)
{
  __disable_irq();
  while (1)
  {
  }
}
